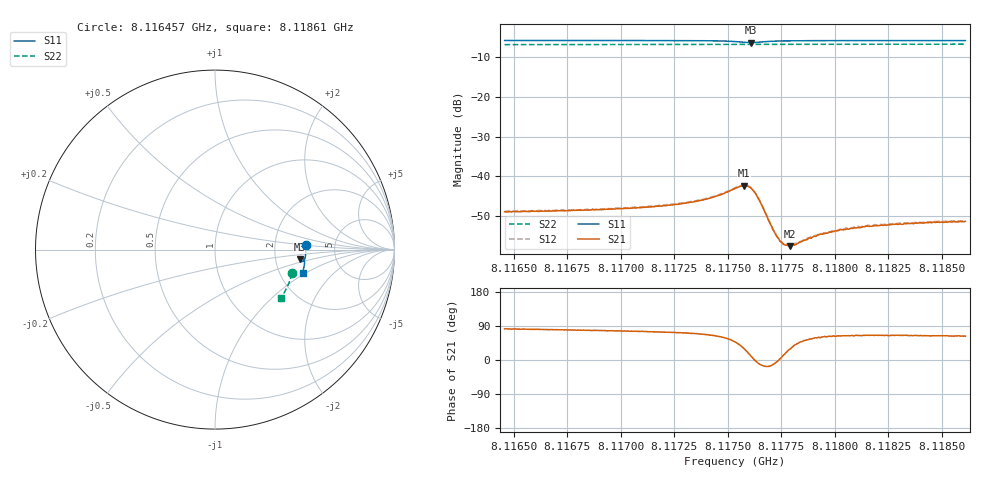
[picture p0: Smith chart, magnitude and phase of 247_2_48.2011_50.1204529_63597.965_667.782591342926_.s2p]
#  HZ  S  RI  R  50.00
! Rohde & Schwarz Vector Network Analyzer
! Rohde-Schwarz,ZNB20-2Port,1311601062101988,3.16
! Created: UTC 3/20/2024, 11:47:06 AM
! freq[Hz]  re:S11  im:S11  re:S21  im:S21  re:S12  im:S12  re:S22  im:S22
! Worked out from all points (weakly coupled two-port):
!   401 points, 8.116457 GHz to 8.11861 GHz, reference 50 ohm
!   highest |S21| = -42.35 dB at 8.117577 GHz (marker M1); lowest = -57.5 dB at 8.117792 GHz (marker M2)
!   lowest |S11| = -6.4 dB at 8.117609 GHz (marker M3), VSWR 2.82, Z = 138 - j19.5 ohm
!   |S11| at or under -10 dB: nowhere
!   |S22| runs from -6.9 to -6.8 dB; largest |S21 - S12| = 0.0002
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8.1164572e9  0.5061 0.0242  0.00049 0.00356  0.000554 0.00362  0.4295 -0.1329
8.1168178e9  0.5063 -0.00336  0.000745 0.0037  0.000822 0.00377  0.4225 -0.1569
8.1171785e9  0.5044 -0.032  0.00117 0.00406  0.00124 0.00417  0.4138 -0.1806
8.1173077e9  0.5024 -0.0432  0.0015 0.00439  0.00161 0.00444  0.4104 -0.189
8.1173831e9  0.5006 -0.0506  0.00189 0.00468  0.00197 0.00475  0.4083 -0.1938
8.1174692e9  0.4959 -0.0596  0.00286 0.00517  0.00296 0.00528  0.4057 -0.1995
8.1175338e9  0.4871 -0.066  0.00474 0.00524  0.00489 0.00532  0.4035 -0.2034
8.1175769e9  0.477 -0.0639  0.00664 0.00376  0.00683 0.00375  0.402 -0.2059
8.117593e9  0.4741 -0.0599  0.00708 0.00259  0.00724 0.00257  0.4013 -0.2066
8.1176092e9  0.4734 -0.0547  0.00699 0.00118  0.00709 0.00119  0.4009 -0.2072
8.1176253e9  0.4756 -0.0499  0.0063 -1.09e-05  0.00641 -1.59e-05  0.4006 -0.2082
8.1176414e9  0.4795 -0.0468  0.00529 -0.000744  0.00544 -0.000817  0.4004 -0.2091
8.117706e9  0.4931 -0.0504  0.00225 -0.000556  0.00227 -0.000579  0.3992 -0.2133
8.1177383e9  0.4962 -0.0548  0.00165 -8.55e-06  0.00165 -3.7e-05  0.3982 -0.2155
8.1177599e9  0.4973 -0.0577  0.00138 0.000314  0.00136 0.000281  0.3976 -0.2167
8.1177922e9  0.4982 -0.0617  0.00116 0.000649  0.00119 0.000684  0.3966 -0.2188
8.1178191e9  0.4985 -0.0647  0.00105 0.000927  0.0011 0.000949  0.3957 -0.2205
8.1178945e9  0.4987 -0.0724  0.000956 0.00142  0.000976 0.0015  0.3934 -0.2254
8.1180236e9  0.4977 -0.0839  0.000963 0.00192  0.000997 0.00192  0.3892 -0.2334
8.118099e9  0.4968 -0.0901  0.000947 0.00204  0.001 0.0021  0.3867 -0.2381
8.1182551e9  0.4944 -0.1024  0.00107 0.00222  0.00109 0.0023  0.3812 -0.2477
8.1186104e9  0.4879 -0.1288  0.00124 0.00244  0.00124 0.00243  0.3678 -0.2687
